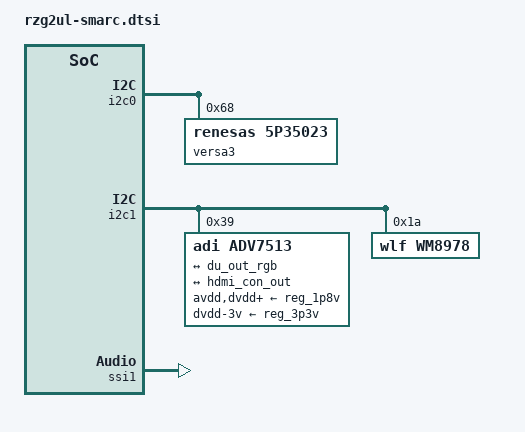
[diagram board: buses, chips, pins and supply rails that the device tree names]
// SPDX-License-Identifier: (GPL-2.0-only OR BSD-2-Clause)
/*
 * Device Tree Source for the RZ/G2UL Type-1 SMARC EVK parts
 *
 * Copyright (C) 2022 Renesas Electronics Corp.
 */

/*
 * DIP-Switch SW1 setting
 * 1 : High; 0: Low
 * SW1-2 : SW_SD0_DEV_SEL	(0: uSD; 1: eMMC)
 * SW1-3 : SW_ET0_EN_N		(0: ETHER0; 1: CAN0, CAN1, SSI1, RSPI1)
 * Please change below macros according to SW1 setting
 */
#define SW_SW0_DEV_SEL	1
#define SW_ET0_EN_N	1

/*
 * MTU3 macros are created to support setting pinctrl and properties in order
 * to use MTU3 functions.
 * - MTU3_PWM_SUPPORT: Support PWM of MTU3. PWM mode 1 of MTIOC2A will be selected
 *   and disable rspi1 due to conflict between MTIOC2A and RSPI1_CK when ETH0 disabled.
 */
#define MTU3_PWM_SUPPORT	0

#include "rzg2ul-smarc-som.dtsi"
#include "rzg2ul-smarc-pinfunction.dtsi"
#include "rz-smarc-common.dtsi"

/ {
	x1_clk: x1-clock {
		compatible = "fixed-clock";
		#clock-cells = <0>;
		clock-frequency = <24000000>;
	};
};

&soc {
	/delete-node/ dsi@10860000;
};

&hdmi_con_out {
	remote-endpoint = <&adv7513_out>;
};

&du {
	pinctrl-0 = <&du_pins>;
	pinctrl-names = "default";

	ports {
		port@0 {
			du_out_rgb: endpoint {
				remote-endpoint = <&adv7513_in>;
			};
		};
	};
};

#if (!SW_ET0_EN_N)
&canfd {
	/delete-property/ pinctrl-0;
	/delete-property/ pinctrl-names;
	status = "disabled";
};
#endif

&codec_dai {
	clocks = <&versa3 3>;
};

&cpu_dai {
	sound-dai = <&ssi1>;
};

&i2c0 {
	versa3: versa3@68 {
		compatible = "renesas,5p35023";
		reg = <0x68>;
		#clock-cells = <1>;
		clocks = <&x1_clk>;
		clock-names = "x1";
		assigned-clocks = <&versa3 0>,
				   <&versa3 1>,
				   <&versa3 2>,
				   <&versa3 3>,
				   <&versa3 4>,
				   <&versa3 5>;
		assigned-clock-rates =	<12288000>, <25000000>,
					<12000000>, <11289600>,
					<11289600>, <24000000>;
		clock-divider-read-only = <1>, <1>, <1>, <1>, <1>;
		clock-flags = <2176>, <2176>, <2176>, <2052>, <2176>, <2048>;
	};
};

&i2c1 {
	/delete-node/ hdmi@3d;

	adv7513: adv7513@39 {
		compatible = "adi,adv7513";
		reg = <0x39>;

		adi,input-depth = <8>;
		adi,input-colorspace = "rgb";
		adi,input-clock = "1x";

		avdd-supply = <&reg_1p8v>;
		dvdd-supply = <&reg_1p8v>;
		pvdd-supply = <&reg_1p8v>;
		dvdd-3v-supply = <&reg_3p3v>;
		bgvdd-supply = <&reg_1p8v>;

		ports {
			#address-cells = <1>;
			#size-cells = <0>;

			port@0 {
				reg = <0>;

				adv7513_in: endpoint {
					remote-endpoint = <&du_out_rgb>;
				};
			};

			port@1 {
				reg = <1>;

				adv7513_out: endpoint {
					remote-endpoint = <&hdmi_con_out>;
				};
			};
		};
	};

	wm8978: codec@1a {
		compatible = "wlf,wm8978";
		#sound-dai-cells = <0>;
		reg = <0x1a>;
	};
};

#if (SW_ET0_EN_N)
&ssi1 {
	pinctrl-0 = <&ssi1_pins>;
	pinctrl-names = "default";

	status = "okay";
};

#if MTU3_PWM_SUPPORT
&spi1 {
	/delete-property/ pinctrl-0;
	/delete-property/ pinctrl-names;
	status = "disabled";
};

&mtu3 {
	pinctrl-0 = <&mtu3_pins>;
	pinctrl-names = "default";

	pwm_mode1 = <2 0>;
};
#endif
#else
&snd_rzg2l {
	status = "disabled";
};

&spi1 {
	/delete-property/ pinctrl-0;
	/delete-property/ pinctrl-names;
	status = "disabled";
};

&ssi1 {
	/delete-property/ pinctrl-0;
	/delete-property/ pinctrl-names;
	status = "disabled";
};
#endif

&vccq_sdhi1 {
	gpios = <&pinctrl RZG2L_GPIO(6, 1) GPIO_ACTIVE_HIGH>;
};

&ov5645 {
#if (SW_ET0_EN_N)
	enable-gpios = <&pinctrl RZG2L_GPIO(4, 4) GPIO_ACTIVE_HIGH>;
#else
	/* dummy */
	enable-gpios = <&pinctrl RZG2L_GPIO(8, 1) GPIO_ACTIVE_HIGH>;
#endif
	reset-gpios = <&pinctrl RZG2L_GPIO(0, 1) GPIO_ACTIVE_LOW>;
};
